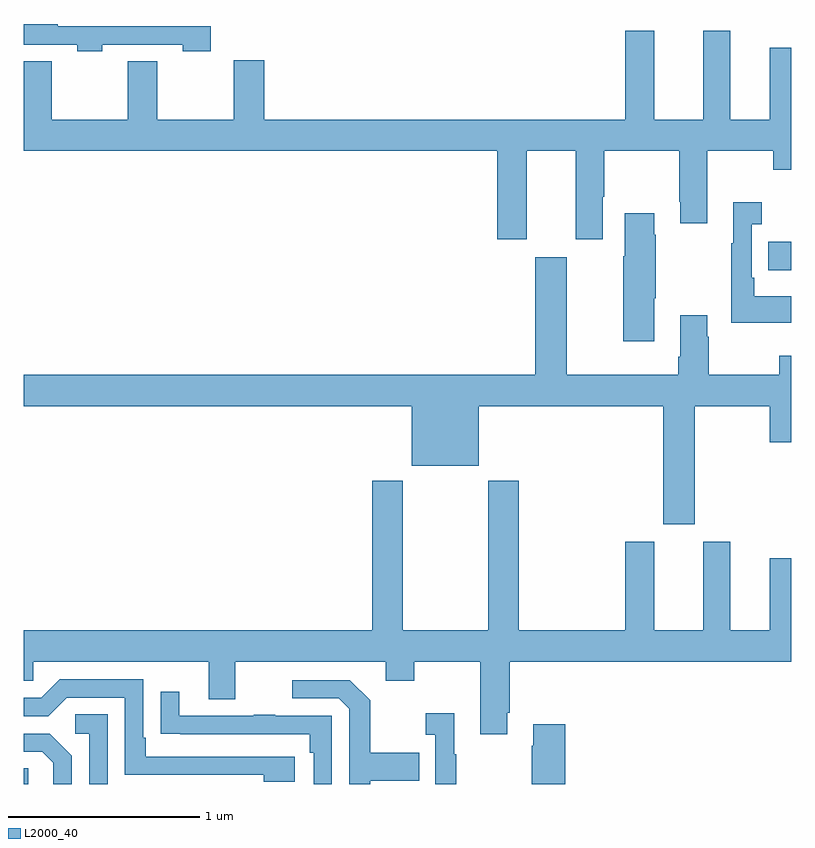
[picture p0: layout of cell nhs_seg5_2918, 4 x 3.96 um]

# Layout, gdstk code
import gdstk
lib = gdstk.Library(unit=1e-6, precision=1e-09)
def R(c, l, rs):  # rectangles x0, y0, x1, y1
    for r in rs: c.add(gdstk.rectangle(r[:2], r[2:], *l))
def P(c, l, *ps):  # polygons
    for p in ps: c.add(gdstk.Polygon(p, *l))
L2000_40 = (2000, 40)

nhs_seg5_2918 = lib.new_cell('nhs_seg5_2918')
R(nhs_seg5_2918, L2000_40, [(281,846.799,281.022,846.881), (284.881,849.479,285,849.627)])
P(nhs_seg5_2918, L2000_40, [(281.409,850.653),(281.829,850.653),(281.829,850.621),(281.974,850.621),(281.974,850.749),(281.177,850.749),(281.177,850.762),(281,850.762),(281,850.653),(281.277,850.653),(281.277,850.621),(281.409,850.621)],
  [(283.469,849.639),(283.621,849.639),(283.621,850.1),(283.877,850.1),(283.877,849.639),(284.017,849.639),(284.017,849.862),(284.025,849.862),(284.025,850.1),(284.416,850.1),(284.416,849.835),(284.423,849.835),(284.423,849.723),(284.563,849.723),(284.563,850.1),(284.908,850.1),(284.908,850.001),(285,850.001),(285,850.639),(284.888,850.639),(284.888,850.264),(284.683,850.264),(284.683,850.726),(284.543,850.726),(284.543,850.264),(284.287,850.264),(284.287,850.726),(284.135,850.726),(284.135,850.264),(282.254,850.264),(282.254,850.573),(282.094,850.573),(282.094,850.264),(281.696,850.264),(281.696,850.568),(281.542,850.568),(281.542,850.264),(281.144,850.264),(281.144,850.568),(281,850.568),(281,850.1),(283.469,850.1)],
  [(285,849.343),(284.809,849.343),(284.809,849.439),(284.796,849.439),(284.796,849.719),(284.848,849.719),(284.848,849.832),(284.699,849.832),(284.699,849.619),(284.688,849.619),(284.688,849.203),(285,849.203)],
  [(284.287,849.331),(284.295,849.331),(284.295,849.662),(284.287,849.662),(284.287,849.775),(284.132,849.775),(284.132,849.551),(284.125,849.551),(284.125,849.108),(284.287,849.108)],
  [(284.423,849.028),(284.411,849.028),(284.411,848.932),(283.831,848.932),(283.831,849.547),(283.667,849.547),(283.667,848.932),(281,848.932),(281,848.768),(283.022,848.768),(283.022,848.459),(283.372,848.459),(283.372,848.768),(284.333,848.768),(284.333,848.154),(284.497,848.154),(284.497,848.768),(284.888,848.768),(284.888,848.58),(285,848.58),(285,849.031),(284.938,849.031),(284.938,848.932),(284.571,848.932),(284.571,849.131),(284.563,849.131),(284.563,849.244),(284.423,849.244)],
  [(281,847.338),(281.049,847.338),(281.049,847.436),(281.963,847.436),(281.963,847.242),(282.103,847.242),(282.103,847.436),(282.887,847.436),(282.887,847.337),(283.035,847.337),(283.035,847.436),(283.379,847.436),(283.379,847.059),(283.519,847.059),(283.519,847.171),(283.532,847.171),(283.532,847.436),(285,847.436),(285,847.975),(284.888,847.975),(284.888,847.6),(284.683,847.6),(284.683,848.062),(284.543,848.062),(284.543,847.6),(284.287,847.6),(284.287,848.062),(284.135,848.062),(284.135,847.6),(283.58,847.6),(283.58,848.38),(283.42,848.38),(283.42,847.6),(282.975,847.6),(282.975,848.38),(282.815,848.38),(282.815,847.6),(281,847.6)],
  [(282.412,846.942),(281.635,846.942),(281.635,847.039),(281.622,847.039),(281.622,847.344),(281.187,847.344),(281.091,847.248),(281,847.248),(281,847.152),(281.127,847.152),(281.223,847.248),(281.526,847.248),(281.526,846.846),(282.251,846.846),(282.251,846.812),(282.412,846.812)],
  [(282.805,846.815),(283.061,846.815),(283.061,846.963),(282.805,846.963),(282.805,847.235),(282.699,847.341),(282.399,847.341),(282.399,847.245),(282.642,847.245),(282.696,847.191),(282.696,846.799),(282.805,846.799)],
  [(282.606,847.155),(282.311,847.155),(282.311,847.16),(282.199,847.16),(282.199,847.155),(281.809,847.155),(281.809,847.279),(281.713,847.279),(281.713,847.06),(281.815,847.06),(281.815,847.059),(282.49,847.059),(282.49,846.962),(282.51,846.962),(282.51,846.799),(282.606,846.799)],
  [(283.255,846.955),(283.243,846.955),(283.243,847.168),(283.095,847.168),(283.095,847.055),(283.146,847.055),(283.146,846.799),(283.255,846.799)],
  [(281.436,847.163),(281.268,847.163),(281.268,847.062),(281.34,847.062),(281.34,846.799),(281.436,846.799)],
  [(283.823,847.111),(283.655,847.111),(283.655,846.998),(283.648,846.998),(283.648,846.799),(283.823,846.799)],
  [(281.25,846.946),(281.134,847.062),(281,847.062),(281,846.966),(281.096,846.966),(281.153,846.909),(281.153,846.799),(281.25,846.799)])

lib.write_gds('nhs_seg5_2918.gds')
